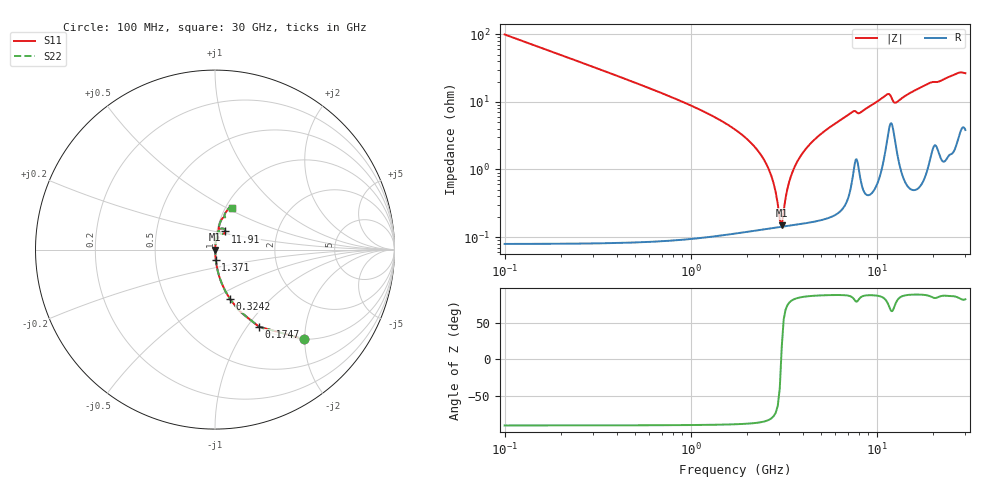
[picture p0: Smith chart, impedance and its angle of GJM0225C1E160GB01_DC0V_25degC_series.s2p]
!Murata Part Number: GJM0225C1E160GB01
!These Parameters are Measured in Series Mode Connection
!  o--ll--o
!Port1  Port2
!  o------o
!Operation Temp=25[degC], DC Bias Voltage=0[V]
!Freq. Start=100[MHz] Stop=30[GHz], 401[Steps]
!Data Generated on Feb 1, 2023
# Hz S RI R 50
!Freq.(Hz) S11(Real) S11(Imag) S21(Real) S21(Imag) S12(Real) S12(Imag) S22(Real) S22(Imag)
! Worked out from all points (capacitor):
!   401 points, 100 MHz to 30 GHz, reference 50 ohm
!   read as one part in series: C = 16 pF near 249.5 MHz
!   lowest |Z| = 149 mohm at 3.09 GHz (marker M1)
!   series resonance near 3.069 GHz, so ESL is about 170 pH
!   S11 on the Smith chart (normalised r, x): 100 MHz: 1.00, -1.99; 174.8 MHz: 1.00, -1.13; 324.2 MHz: 1.00, -0.61; 1.371 GHz: 1.00, -0.12; 11.91 GHz: 1.10, +0.22; 30 GHz: 1.08, +0.53
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1e8  0.4968 -0.4996  0.5032 0.4996  0.5032 0.4996  0.4968 -0.4996
1.7475e8  0.2438 -0.4287  0.7562 0.4287  0.7562 0.4287  0.2438 -0.4287
3.2425e8  0.0849 -0.2773  0.9151 0.2773  0.9151 0.2773  0.0849 -0.2773
6.98e8  0.0187 -0.1324  0.9813 0.1324  0.9813 0.1324  0.0187 -0.1324
1.37075e9  0.00437 -0.0576  0.9956 0.0576  0.9956 0.0576  0.00437 -0.0576
2.41725e9  0.00153 -0.0155  0.9985 0.0155  0.9985 0.0155  0.00153 -0.0155
2.71625e9  0.00141 -0.00789  0.9986 0.00789  0.9986 0.00789  0.00141 -0.00789
2.9405e9  0.0014 -0.00276  0.9986 0.00276  0.9986 0.00276  0.0014 -0.00276
3.09e9  0.00142 0.00044  0.9986 -0.00044  0.9986 -0.00044  0.00142 0.00044
3.16475e9  0.00143 0.00198  0.9986 -0.00198  0.9986 -0.00198  0.00143 0.00198
3.46375e9  0.00154 0.00783  0.9985 -0.00783  0.9985 -0.00783  0.00154 0.00783
3.76275e9  0.00171 0.0133  0.9983 -0.0133  0.9983 -0.0133  0.00171 0.0133
4.286e9  0.00211 0.022  0.9979 -0.022  0.9979 -0.022  0.00211 0.022
5.10825e9  0.003 0.0347  0.997 -0.0347  0.997 -0.0347  0.003 0.0347
7.35075e9  0.0111 0.0685  0.9889 -0.0685  0.9889 -0.0685  0.0111 0.0685
1.01165e10  0.0164 0.0997  0.9836 -0.0997  0.9836 -0.0997  0.0164 0.0997
1.19105e10  0.0567 0.1009  0.9433 -0.1009  0.9433 -0.1009  0.0567 0.1009
1.258325e10  0.0332 0.0882  0.9668 -0.0882  0.9668 -0.0882  0.0332 0.0882
1.505e10  0.0227 0.1306  0.9773 -0.1306  0.9773 -0.1306  0.0227 0.1306
2.005825e10  0.0546 0.1815  0.9454 -0.1815  0.9454 -0.1815  0.0546 0.1815
2.50665e10  0.0682 0.2194  0.9318 -0.2194  0.9318 -0.2194  0.0682 0.2194
3e10  0.095 0.2291  0.905 -0.2291  0.905 -0.2291  0.095 0.2291
